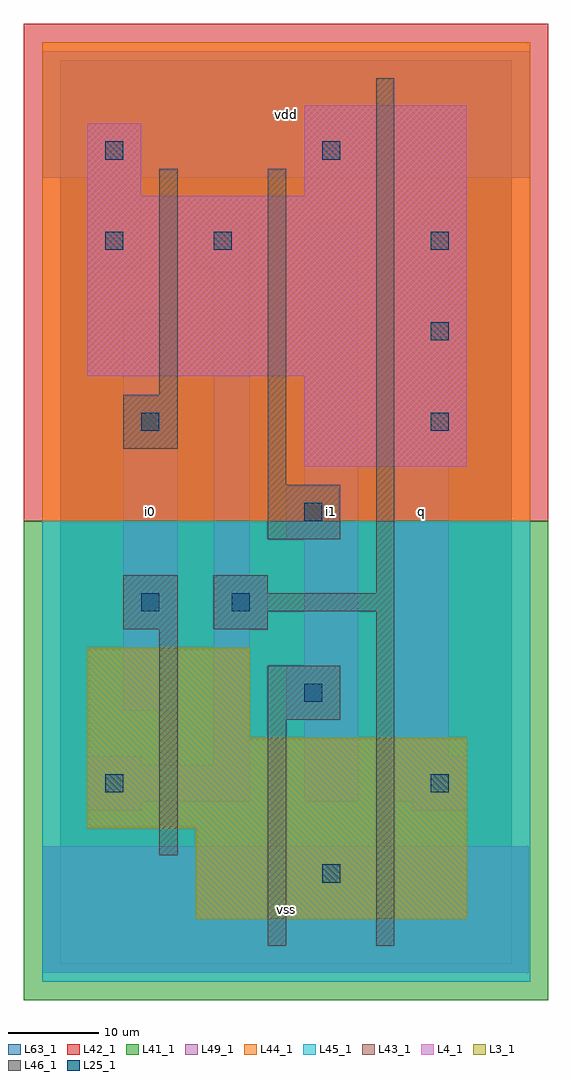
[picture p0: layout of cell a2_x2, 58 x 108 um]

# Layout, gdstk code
import gdstk
lib = gdstk.Library(unit=1e-6, precision=1e-09)
def R(c, l, rs):  # rectangles x0, y0, x1, y1
    for r in rs: c.add(gdstk.rectangle(r[:2], r[2:], *l))
def A(c, l, x, y, w, h, nx, ny, dx, dy):  # array of equal rectangles
    R(c, l, [(x+i*dx, y+j*dy, x+i*dx+w, y+j*dy+h) for i in range(nx) for j in range(ny)])
L3_1 = (3, 1)
L4_1 = (4, 1)
L25_1 = (25, 1)
L41_1 = (41, 1)
L42_1 = (42, 1)
L43_1 = (43, 1)
L44_1 = (44, 1)
L45_1 = (45, 1)
L46_1 = (46, 1)
L49_1 = (49, 1)
L63_1 = (63, 1)

a2_x2 = lib.new_cell('a2_x2')
R(a2_x2, L3_1, [(15,5,45,15), (3,15,45,25), (3,25,21,35)])
R(a2_x2, L4_1, [(27,55,45,65), (3,65,45,85), (3,85,9,93), (27,85,45,95)])
A(a2_x2, L25_1, 41, 59, 2, 2, 1, 3, 0, 10)
R(a2_x2, L25_1, [(29,9,31,11), (5,19,7,21), (41,19,43,21), (27,29,29,31), (9,39,11,41), (19,39,21,41), (27,49,29,51), (9,59,11,61), (5,79,7,81), (17,79,19,81), (5,89,7,91), (29,89,31,91)])
R(a2_x2, L41_1, [(-4,-4,54,49)])
R(a2_x2, L42_1, [(-4,49,54,104)])
R(a2_x2, L43_1, [(15,5,45,15), (3,15,45,25), (3,25,21,35), (27,55,45,65), (3,65,45,85), (3,85,9,93), (27,85,45,95)])
R(a2_x2, L44_1, [(-2,49,52,102)])
R(a2_x2, L45_1, [(-2,-2,52,49)])
R(a2_x2, L46_1, [(23,2,25,27), (35,2,37,39), (11,12,13,37), (23,27,31,33), (7,37,13,43), (17,37,23,39), (17,39,37,41), (17,41,23,43), (35,41,37,98), (23,47,31,53), (23,53,25,88), (7,57,13,63), (11,63,13,88)])
R(a2_x2, L49_1, [(-2,-1,52,13), (3,17,9,18), (39,17,45,18), (3,18,21,22), (27,18,33,27), (37,18,45,23), (3,22,9,23), (17,22,21,37), (37,23,43,57), (25,27,33,33), (7,28,13,72), (27,33,33,47), (17,37,23,43), (17,43,21,77), (25,47,33,53), (27,53,33,82), (37,57,45,63), (37,63,43,67), (37,67,45,73), (37,73,43,77), (3,77,9,87), (15,77,21,83), (37,77,45,82), (39,82,45,83), (-2,87,52,101)])
R(a2_x2, L63_1, [(0,0,50,100)])
a2_x2.add(gdstk.Label('i0', (10,50), layer=49, texttype=1))
a2_x2.add(gdstk.Label('i0', (10,50), layer=49, texttype=1))
a2_x2.add(gdstk.Label('vss', (25,6), layer=49, texttype=1))
a2_x2.add(gdstk.Label('vss', (25,6), layer=49, texttype=1))
a2_x2.add(gdstk.Label('i1', (30,50), layer=49, texttype=1))
a2_x2.add(gdstk.Label('i1', (30,50), layer=49, texttype=1))
a2_x2.add(gdstk.Label('vdd', (25,94), layer=49, texttype=1))
a2_x2.add(gdstk.Label('vdd', (25,94), layer=49, texttype=1))
a2_x2.add(gdstk.Label('q', (40,50), layer=49, texttype=1))
a2_x2.add(gdstk.Label('q', (40,50), layer=49, texttype=1))

lib.write_gds('a2_x2.gds')
